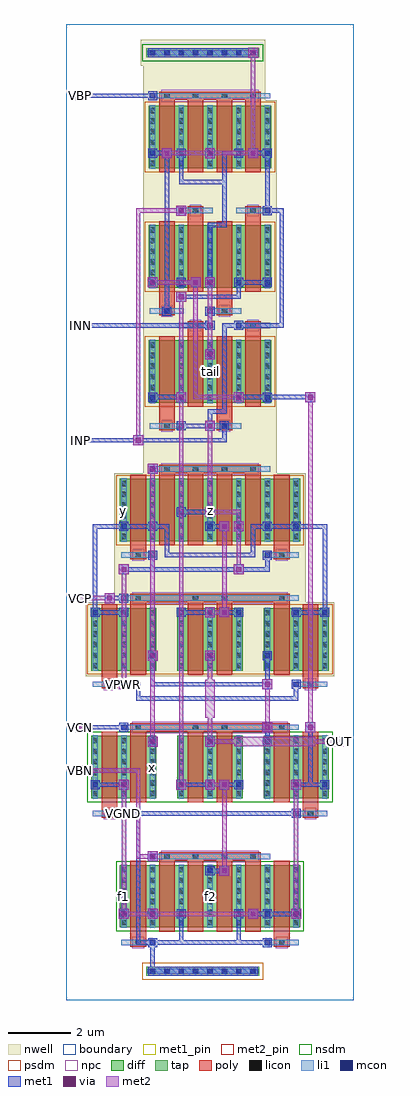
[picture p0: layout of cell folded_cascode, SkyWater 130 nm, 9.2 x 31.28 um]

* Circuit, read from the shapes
.subckt folded_cascode INN INP OUT VBN VBP VCN VCP VGND VPWR f1 f2 tail x y z
XM1 f1 VGND f1 VGND sky130_fd_pr__nfet_01v8 w=2 l=0.5 m=4
XM2 x VCN f1 VGND sky130_fd_pr__nfet_01v8 w=2 l=0.5 m=2
XM3 VGND VBN f1 VGND sky130_fd_pr__nfet_01v8 w=2 l=0.5 m=2
XM4 f2 VBN VGND VGND sky130_fd_pr__nfet_01v8 w=2 l=0.5 m=2
XM5 OUT VCN f2 VGND sky130_fd_pr__nfet_01v8 w=2 l=0.5 m=2
XM6 y VPWR y VPWR sky130_fd_pr__pfet_01v8 w=2 l=0.5 m=4
XM7 x VCP y VPWR sky130_fd_pr__pfet_01v8 w=2 l=0.5 m=2
XM8 VPWR x y VPWR sky130_fd_pr__pfet_01v8 w=2 l=0.5 m=2
XM9 f2 VPWR f2 VPWR sky130_fd_pr__pfet_01v8 w=2 l=0.5 m=2
XM10 f1 VPWR f1 VPWR sky130_fd_pr__pfet_01v8 w=2 l=0.5 m=2
XM11 tail VBP VPWR VPWR sky130_fd_pr__pfet_01v8 w=2 l=0.5 m=4
XM12 OUT VCP z VPWR sky130_fd_pr__pfet_01v8 w=2 l=0.5 m=2
XM13 z x VPWR VPWR sky130_fd_pr__pfet_01v8 w=2 l=0.5 m=2
XM14 tail INN f2 VPWR sky130_fd_pr__pfet_01v8 w=2 l=0.5 m=2
XM15 tail INP f1 VPWR sky130_fd_pr__pfet_01v8 w=2 l=0.5 m=2
.ends

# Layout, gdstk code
import gdstk
lib = gdstk.Library(unit=1e-6, precision=1e-09)
def R(c, l, rs):  # rectangles x0, y0, x1, y1
    for r in rs: c.add(gdstk.rectangle(r[:2], r[2:], *l))
def A(c, l, x, y, w, h, nx, ny, dx, dy):  # array of equal rectangles
    R(c, l, [(x+i*dx, y+j*dy, x+i*dx+w, y+j*dy+h) for i in range(nx) for j in range(ny)])
nwell = (64, 20)
diff = (65, 20)
tap = (65, 44)
poly = (66, 20)
licon = (66, 44)
li1 = (67, 20)
mcon = (67, 44)
met1_pin = (68, 16)
met1 = (68, 20)
via = (68, 44)
met2_pin = (69, 16)
met2 = (69, 20)
nsdm = (93, 44)
psdm = (94, 20)
npc = (95, 20)
boundary = (235, 4)

folded_cascode = lib.new_cell('folded_cascode')
R(folded_cascode, nwell, [(0.615,10.38,8.585,12.74), (1.535,12.74,7.665,16.88), (2.455,16.88,6.745,28.84), (2.455,28.84,6.365,29.94), (2.375,29.94,6.365,30.78)])
A(folded_cascode, diff, 0.795, 6.465, 2.09, 2, 3, 2, 2.76, 4.095)
R(folded_cascode, diff, [(1.715,2.325,7.485,4.325), (1.715,14.7,7.485,16.7), (2.635,19.145,6.565,21.145), (2.635,22.825,6.565,24.825), (2.635,26.66,6.565,28.66)])
R(folded_cascode, tap, [(2.555,0.775,6.185,1.065), (2.555,30.215,6.185,30.505)])
A(folded_cascode, poly, 2.97, 2.195, 0.5, 2.405, 4, 1, 0.92, 0)
A(folded_cascode, poly, 2.97, 14.57, 0.5, 2.45, 4, 2, 0.92, 11.96)
R(folded_cascode, poly, [(2.05,1.705,2.55,1.975), (6.65,1.705,7.15,1.975), (2.05,1.84,2.55,4.455), (6.65,1.84,7.15,4.455), (2.97,4.465,6.23,4.735), (1.13,5.845,1.63,6.115), (7.57,5.845,8.07,6.115), (1.13,5.98,1.63,8.595), (7.57,5.98,8.07,8.595), (2.05,6.335,2.55,8.74), (3.89,6.335,4.39,8.74), (4.81,6.335,5.31,8.74), (6.65,6.335,7.15,8.74), (2.05,8.605,7.15,8.875), (1.13,9.985,1.63,10.255), (7.57,9.985,8.07,10.255), (1.13,10.12,1.63,12.69), (7.57,10.12,8.07,12.69), (2.05,10.43,2.55,12.88), (3.89,10.43,4.39,12.88), (4.81,10.43,5.31,12.88), (6.65,10.43,7.15,12.88), (2.05,12.745,7.15,13.015), (2.05,14.125,2.55,14.395), (6.65,14.125,7.15,14.395), (2.05,14.26,2.55,16.83), (6.65,14.26,7.15,16.83), (2.97,16.885,6.23,17.155), (2.97,18.265,3.47,18.535), (4.81,18.265,5.31,18.535), (2.97,18.4,3.47,21.275), (4.81,18.4,5.31,21.275), (3.89,19.015,4.39,21.62), (5.73,19.015,6.23,21.62), (3.89,21.485,4.39,21.755), (5.73,21.485,6.23,21.755), (2.97,21.945,3.47,22.215), (4.81,21.945,5.31,22.215), (2.97,22.08,3.47,24.955), (4.81,22.08,5.31,24.955), (3.89,22.695,4.39,25.3), (5.73,22.695,6.23,25.3), (3.89,25.165,4.39,25.435), (5.73,25.165,6.23,25.435), (2.97,28.845,6.23,29.115)])
A(folded_cascode, licon, 2.675, 0.835, 0.17, 0.17, 8, 2, 0.46, 29.44)
A(folded_cascode, licon, 1.755, 2.39, 0.17, 0.17, 7, 6, 0.92, 0.34)
A(folded_cascode, licon, 3.135, 4.515, 0.17, 0.17, 4, 2, 0.92, 12.42)
A(folded_cascode, licon, 0.835, 6.53, 0.17, 0.17, 9, 6, 0.92, 0.34)
A(folded_cascode, licon, 0.835, 10.625, 0.17, 0.17, 9, 6, 0.92, 0.34)
A(folded_cascode, licon, 1.755, 14.765, 0.17, 0.17, 7, 6, 0.92, 0.34)
A(folded_cascode, licon, 2.675, 19.21, 0.17, 0.17, 5, 6, 0.92, 0.34)
A(folded_cascode, licon, 2.675, 22.89, 0.17, 0.17, 5, 6, 0.92, 0.34)
A(folded_cascode, licon, 2.675, 26.725, 0.17, 0.17, 5, 6, 0.92, 0.34)
A(folded_cascode, licon, 3.135, 28.895, 0.17, 0.17, 4, 1, 0.92, 0)
R(folded_cascode, licon, [(2.215,1.755,2.385,1.925), (6.815,1.755,6.985,1.925), (1.295,5.895,1.465,6.065), (7.735,5.895,7.905,6.065), (2.215,8.655,2.385,8.825), (4.055,8.655,4.225,8.825), (4.975,8.655,5.145,8.825), (6.815,8.655,6.985,8.825), (1.295,10.035,1.465,10.205), (7.735,10.035,7.905,10.205), (2.215,12.795,2.385,12.965), (4.055,12.795,4.225,12.965), (4.975,12.795,5.145,12.965), (6.815,12.795,6.985,12.965), (2.215,14.175,2.385,14.345), (6.815,14.175,6.985,14.345), (3.135,18.315,3.305,18.485), (4.975,18.315,5.145,18.485), (4.055,21.535,4.225,21.705), (5.895,21.535,6.065,21.705), (3.135,21.995,3.305,22.165), (4.975,21.995,5.145,22.165), (4.055,25.215,4.225,25.385), (5.895,25.215,6.065,25.385)])
A(folded_cascode, li1, 1.755, 2.31, 0.17, 2.03, 7, 2, 0.92, 12.375)
A(folded_cascode, li1, 0.835, 6.45, 0.17, 2.03, 9, 2, 0.92, 4.095)
A(folded_cascode, li1, 2.675, 19.13, 0.17, 2.03, 5, 2, 0.92, 3.68)
A(folded_cascode, li1, 2.675, 26.645, 0.17, 2.03, 5, 1, 0.92, 0)
R(folded_cascode, li1, [(2.595,0.835,6.145,1.005), (1.755,1.755,2.845,1.925), (6.355,1.755,7.445,1.925), (2.675,4.515,6.525,4.685), (0.835,5.895,1.925,6.065), (7.275,5.895,8.365,6.065), (1.755,8.655,7.445,8.825), (0.835,10.035,1.925,10.205), (7.275,10.035,8.365,10.205), (1.755,12.795,7.445,12.965), (1.755,14.175,2.845,14.345), (6.355,14.175,7.445,14.345), (2.675,16.935,6.525,17.105), (2.675,18.315,3.765,18.485), (4.515,18.315,5.605,18.485), (3.595,21.535,4.685,21.705), (5.435,21.535,6.525,21.705), (2.675,21.995,3.765,22.165), (4.515,21.995,5.605,22.165), (3.595,25.215,4.685,25.385), (5.435,25.215,6.525,25.385), (2.675,28.895,6.525,29.065), (2.595,30.275,6.145,30.445)])
A(folded_cascode, mcon, 2.675, 0.835, 0.17, 0.17, 8, 2, 0.46, 29.44)
A(folded_cascode, mcon, 1.755, 2.675, 0.17, 0.17, 3, 1, 0.92, 0)
A(folded_cascode, mcon, 5.435, 2.675, 0.17, 0.17, 3, 1, 0.92, 0)
A(folded_cascode, mcon, 1.755, 6.815, 0.17, 0.17, 4, 2, 1.84, 5.52)
A(folded_cascode, mcon, 2.675, 8.195, 0.17, 0.17, 3, 2, 1.84, 2.76)
A(folded_cascode, mcon, 4.515, 15.095, 0.17, 0.17, 4, 1, 0.92, 0)
A(folded_cascode, mcon, 2.675, 22.915, 0.17, 0.17, 5, 2, 0.92, 4.14)
R(folded_cascode, mcon, [(2.675,1.755,2.845,1.925), (6.355,1.755,6.525,1.925), (4.515,4.055,4.685,4.225), (2.675,4.515,2.845,4.685), (1.755,5.895,1.925,6.065), (7.275,5.895,7.445,6.065), (0.835,6.815,1.005,6.985), (8.195,6.815,8.365,6.985), (1.755,8.655,1.925,8.825), (1.755,10.035,1.925,10.205), (7.275,10.035,7.445,10.205), (0.835,12.335,1.005,12.505), (8.195,12.335,8.365,12.505), (1.755,12.795,1.925,12.965), (2.675,14.175,2.845,14.345), (6.355,14.175,6.525,14.345), (1.755,15.095,1.925,15.265), (2.675,15.095,2.845,15.265), (3.595,15.555,3.765,15.725), (2.675,16.935,2.845,17.105), (3.595,18.315,3.765,18.485), (4.975,18.315,5.145,18.485), (2.675,19.235,2.845,19.405), (3.595,19.235,3.765,19.405), (5.435,19.235,5.605,19.405), (6.355,19.235,6.525,19.405), (4.515,20.615,4.685,20.785), (4.515,21.535,4.685,21.705), (5.435,21.535,5.605,21.705), (3.135,21.995,3.305,22.165), (4.515,21.995,4.685,22.165), (3.595,25.215,3.765,25.385), (6.355,25.215,6.525,25.385), (2.675,28.895,2.845,29.065)])
R(folded_cascode, met1_pin, [(1.695,5.835,1.985,6.125), (1.695,9.975,1.985,10.265)])
A(folded_cascode, met1, 1.695, 2.615, 0.29, 0.29, 3, 1, 0.92, 0)
A(folded_cascode, met1, 5.375, 2.615, 0.29, 0.29, 3, 1, 0.92, 0)
A(folded_cascode, met1, 1.695, 6.755, 0.29, 0.29, 4, 2, 1.84, 5.52)
A(folded_cascode, met1, 2.615, 8.135, 0.29, 0.29, 3, 2, 1.84, 2.76)
A(folded_cascode, met1, 2.6, 10.88, 0.32, 0.32, 1, 3, 0, 5.98)
A(folded_cascode, met1, 4.455, 15.035, 0.29, 0.29, 4, 1, 0.92, 0)
A(folded_cascode, met1, 4.44, 18.24, 0.32, 0.32, 1, 3, 0, 2.3)
A(folded_cascode, met1, 2.615, 22.855, 0.29, 0.29, 5, 2, 0.92, 4.14)
A(folded_cascode, met1, 3.06, 26.98, 0.32, 0.32, 3, 1, 1.38, 0)
R(folded_cascode, met1, [(2.615,0.775,6.125,1.065), (2.69,0.85,2.83,0.99), (2.69,0.85,2.83,1.91), (2.615,1.695,2.905,1.985), (6.295,1.695,6.585,1.985), (2.23,1.77,2.83,1.91), (2.23,1.77,2.37,6.05), (2.69,1.77,3.75,1.91), (3.61,1.77,6.51,1.91), (3.61,1.77,3.75,2.83), (5.45,1.77,5.59,2.83), (1.68,2.6,2,2.92), (2.6,2.6,2.92,2.92), (5.82,2.6,6.14,2.92), (7.2,2.6,7.52,2.92), (5.91,2.69,6.51,2.83), (6.37,2.69,7.43,2.83), (4.9,3.98,5.22,4.3), (4.455,3.995,4.745,4.285), (4.53,4.07,5.13,4.21), (2.6,4.44,2.92,4.76), (2.615,4.455,2.905,4.745), (1.695,5.835,1.985,6.125), (7.215,5.835,7.505,6.125), (1.77,5.91,2.37,6.05), (2.23,5.91,7.43,6.05), (1.68,6.74,2,7.06), (3.52,6.74,3.84,7.06), (4.44,6.74,4.76,7.06), (4.9,6.74,5.22,7.06), (7.2,6.74,7.52,7.06), (0.775,6.755,1.065,7.045), (8.135,6.755,8.425,7.045), (0.85,6.83,1.91,6.97), (3.61,6.83,4.67,6.97), (4.99,6.83,5.59,6.97), (7.29,6.83,8.35,6.97), (7.75,6.83,7.89,8.81), (2.6,8.12,2.92,8.44), (4.44,8.12,4.76,8.44), (6.37,8.21,6.51,8.81), (0.3,8.58,0.62,8.9), (6.28,8.58,6.6,8.9), (7.66,8.58,7.98,8.9), (1.695,8.595,1.985,8.885), (0.39,8.67,1.91,8.81), (2.23,9.59,7.43,9.73), (2.23,9.59,2.37,10.19), (7.29,9.59,7.43,10.19), (1.68,9.96,2,10.28), (6.28,9.96,6.6,10.28), (1.695,9.975,1.985,10.265), (7.215,9.975,7.505,10.265), (1.77,10.05,2.37,10.19), (2.69,10.05,6.51,10.19), (2.69,10.05,2.83,11.11), (6.37,10.05,6.51,11.11), (4.44,10.88,4.76,11.2), (4.44,12.26,4.76,12.58), (4.9,12.26,5.22,12.58), (0.775,12.275,1.065,12.565), (8.135,12.275,8.425,12.565), (0.85,12.35,1.91,12.49), (0.85,12.35,0.99,15.25), (3.61,12.35,4.67,12.49), (4.99,12.35,5.59,12.49), (7.29,12.35,8.35,12.49), (8.21,12.35,8.35,15.25), (1.22,12.72,1.54,13.04), (1.695,12.735,1.985,13.025), (1.31,12.81,1.91,12.95), (1.68,13.64,2,13.96), (5.36,13.64,5.68,13.96), (1.77,13.73,2.83,13.87), (2.69,13.73,6.51,13.87), (2.69,13.73,2.83,14.33), (6.37,13.73,6.51,14.33), (2.615,14.115,2.905,14.405), (6.295,14.115,6.585,14.405), (3.15,14.19,6.05,14.33), (3.15,14.19,3.29,15.25), (5.91,14.19,6.05,15.25), (4.9,15.02,5.22,15.34), (5.36,15.02,5.68,15.34), (1.695,15.035,1.985,15.325), (2.615,15.035,2.905,15.325), (0.85,15.11,1.91,15.25), (1.77,15.11,2.83,15.25), (2.69,15.11,3.29,15.25), (4.53,15.11,5.13,15.25), (5.91,15.11,6.51,15.25), (6.37,15.11,7.43,15.25), (7.29,15.11,8.35,15.25), (4.44,15.48,4.76,15.8), (3.535,15.495,3.825,15.785), (3.61,15.57,4.67,15.71), (2.615,16.875,2.905,17.165), (0.3,17.78,0.62,18.1), (2.14,17.78,2.46,18.1), (0.39,17.87,5.13,18.01), (4.99,17.87,5.13,18.47), (3.535,18.255,3.825,18.545), (4.915,18.255,5.205,18.545), (3.61,18.33,4.67,18.47), (4.53,18.33,4.67,18.93), (4.53,18.79,5.13,18.93), (4.99,18.79,5.13,21.69), (3.52,19.16,3.84,19.48), (5.36,19.16,5.68,19.48), (7.66,19.16,7.98,19.48), (2.615,19.175,2.905,19.465), (3.535,19.175,3.825,19.465), (5.375,19.175,5.665,19.465), (6.295,19.175,6.585,19.465), (2.69,19.25,3.75,19.39), (5.45,19.25,6.51,19.39), (6.37,19.25,7.89,19.39), (4.455,20.555,4.745,20.845), (0.3,21.46,0.62,21.78), (4.455,21.475,4.745,21.765), (5.375,21.475,5.665,21.765), (0.39,21.55,4.67,21.69), (4.53,21.55,4.67,22.15), (4.99,21.55,5.59,21.69), (5.45,21.55,6.97,21.69), (6.83,21.55,6.97,25.37), (3.075,21.935,3.365,22.225), (4.455,21.935,4.745,22.225), (3.15,22.01,3.29,27.21), (3.52,22.38,3.84,22.7), (3.61,22.47,5.59,22.61), (5.45,22.47,5.59,23.07), (3.98,22.84,4.3,23.16), (3.61,22.93,4.21,23.07), (4.53,22.93,4.67,24.91), (5.45,22.93,6.51,23.07), (4.53,24.77,5.13,24.91), (4.99,24.77,5.13,27.21), (3.52,25.14,3.84,25.46), (3.535,25.155,3.825,25.445), (6.295,25.155,6.585,25.445), (6.37,25.23,6.97,25.37), (6.37,25.23,6.51,27.21), (3.61,26.15,5.13,26.29), (3.61,26.15,3.75,27.21), (2.69,27.07,3.29,27.21), (4.99,27.07,5.59,27.21), (5.91,27.07,6.51,27.21), (0.3,28.82,0.62,29.14), (2.615,28.835,2.905,29.125), (0.39,28.91,2.83,29.05), (5.82,30.2,6.14,30.52), (2.615,30.215,6.125,30.505), (5.91,30.29,6.05,30.43)])
A(folded_cascode, via, 2.685, 10.965, 0.15, 0.15, 1, 3, 0, 5.98)
A(folded_cascode, via, 4.525, 18.325, 0.15, 0.15, 1, 3, 0, 2.3)
A(folded_cascode, via, 3.145, 27.065, 0.15, 0.15, 3, 1, 1.38, 0)
R(folded_cascode, via, [(1.765,2.685,1.915,2.835), (2.685,2.685,2.835,2.835), (5.905,2.685,6.055,2.835), (7.285,2.685,7.435,2.835), (4.985,4.065,5.135,4.215), (2.685,4.525,2.835,4.675), (1.765,6.825,1.915,6.975), (3.605,6.825,3.755,6.975), (4.525,6.825,4.675,6.975), (4.985,6.825,5.135,6.975), (7.285,6.825,7.435,6.975), (2.685,8.205,2.835,8.355), (4.525,8.205,4.675,8.355), (0.385,8.665,0.535,8.815), (6.365,8.665,6.515,8.815), (7.745,8.665,7.895,8.815), (1.765,10.045,1.915,10.195), (6.365,10.045,6.515,10.195), (4.525,10.965,4.675,11.115), (4.525,12.345,4.675,12.495), (4.985,12.345,5.135,12.495), (1.305,12.805,1.455,12.955), (1.765,13.725,1.915,13.875), (5.445,13.725,5.595,13.875), (4.985,15.105,5.135,15.255), (5.445,15.105,5.595,15.255), (4.525,15.565,4.675,15.715), (0.385,17.865,0.535,18.015), (2.225,17.865,2.375,18.015), (3.605,19.245,3.755,19.395), (5.445,19.245,5.595,19.395), (7.745,19.245,7.895,19.395), (0.385,21.545,0.535,21.695), (3.605,22.465,3.755,22.615), (4.065,22.925,4.215,23.075), (3.605,25.225,3.755,25.375), (0.385,28.905,0.535,29.055), (5.905,30.285,6.055,30.435)])
R(folded_cascode, met2_pin, [(0.31,7.21,0.61,7.51), (8.59,8.13,8.89,8.43), (0.31,8.59,0.61,8.89), (0.31,12.73,0.61,13.03), (0.31,17.79,0.61,18.09), (0.31,21.47,0.61,21.77), (0.31,28.83,0.61,29.13)])
A(folded_cascode, met2, 2.6, 10.88, 0.32, 0.32, 1, 3, 0, 5.98)
A(folded_cascode, met2, 4.44, 18.24, 0.32, 0.32, 1, 3, 0, 2.3)
A(folded_cascode, met2, 3.06, 26.98, 0.32, 0.32, 3, 1, 1.38, 0)
R(folded_cascode, met2, [(1.68,2.6,2,2.92), (2.6,2.6,2.92,2.92), (5.82,2.6,6.14,2.92), (7.2,2.6,7.52,2.92), (1.77,2.69,2.83,2.83), (1.77,2.69,1.91,6.97), (2.69,2.69,6.05,2.83), (7.29,2.69,7.43,6.97), (4.9,3.98,5.22,4.3), (4.99,4.07,5.13,6.97), (2.6,4.44,2.92,4.76), (2.23,4.53,2.37,7.43), (2.23,4.53,2.83,4.67), (1.68,6.74,2,7.06), (3.52,6.74,3.84,7.06), (4.44,6.74,4.76,7.06), (4.9,6.74,5.22,7.06), (7.2,6.74,7.52,7.06), (3.61,6.83,3.75,19.39), (4.53,6.83,5.13,6.97), (0.31,7.21,0.61,7.51), (0.39,7.29,0.53,7.43), (0.39,7.29,2.37,7.43), (2.6,8.12,2.92,8.44), (4.44,8.12,4.76,8.44), (5.37,8.13,7.97,8.43), (8.59,8.13,8.89,8.43), (2.69,8.21,2.83,11.11), (4.53,8.21,4.67,9.27), (4.53,8.21,5.59,8.35), (7.75,8.21,8.81,8.35), (8.67,8.21,8.81,8.35), (0.3,8.58,0.62,8.9), (6.28,8.58,6.6,8.9), (7.66,8.58,7.98,8.9), (0.31,8.59,0.61,8.89), (0.39,8.67,0.53,8.81), (6.37,8.67,6.51,10.19), (7.75,8.67,7.89,19.39), (4.45,9.05,4.75,10.27), (1.68,9.96,2,10.28), (6.28,9.96,6.6,10.28), (1.77,10.05,1.91,13.87), (4.53,10.05,4.67,11.11), (4.44,10.88,4.76,11.2), (2.69,10.97,2.83,17.09), (4.44,12.26,4.76,12.58), (4.9,12.26,5.22,12.58), (4.53,12.35,5.13,12.49), (4.99,12.35,5.13,15.25), (1.22,12.72,1.54,13.04), (0.31,12.73,0.61,13.03), (0.39,12.81,0.53,12.95), (0.39,12.81,1.45,12.95), (1.68,13.64,2,13.96), (5.36,13.64,5.68,13.96), (5.45,13.73,5.59,15.25), (4.9,15.02,5.22,15.34), (5.36,15.02,5.68,15.34), (5.45,15.11,5.59,15.71), (4.44,15.48,4.76,15.8), (4.53,15.57,5.59,15.71), (4.53,15.57,4.67,18.47), (0.3,17.78,0.62,18.1), (2.14,17.78,2.46,18.1), (0.31,17.79,0.61,18.09), (0.39,17.87,0.53,18.01), (2.23,17.87,2.37,25.37), (3.52,19.16,3.84,19.48), (5.36,19.16,5.68,19.48), (7.66,19.16,7.98,19.48), (3.61,19.25,3.75,22.61), (4.07,19.25,5.59,19.39), (4.07,19.25,4.21,23.07), (4.53,20.63,4.67,23.07), (0.3,21.46,0.62,21.78), (0.31,21.47,0.61,21.77), (0.39,21.55,0.53,21.69), (3.52,22.38,3.84,22.7), (3.98,22.84,4.3,23.16), (2.69,22.93,4.21,23.07), (3.52,25.14,3.84,25.46), (2.23,25.23,3.75,25.37), (3.15,27.07,4.67,27.21), (4.53,27.07,6.05,27.21), (5.91,27.07,6.05,30.43), (0.3,28.82,0.62,29.14), (0.31,28.83,0.61,29.13), (0.39,28.91,0.53,29.05), (5.82,30.2,6.14,30.52)])
R(folded_cascode, nsdm, [(1.59,2.2,7.61,4.45), (0.67,6.34,8.53,8.59), (2.43,30.09,6.31,30.63)])
R(folded_cascode, psdm, [(2.43,0.65,6.31,1.19), (0.67,10.435,8.53,12.685), (1.59,14.575,7.61,16.825), (2.51,19.02,6.69,21.27), (2.51,22.7,6.69,24.95), (2.51,26.535,6.69,28.785)])
R(folded_cascode, npc, [(2.115,1.655,2.485,2.025), (6.715,1.655,7.085,2.025), (3.035,4.415,6.165,4.785), (1.195,5.795,1.565,6.165), (7.635,5.795,8.005,6.165), (2.115,8.555,7.085,8.925), (1.195,9.935,1.565,10.305), (7.635,9.935,8.005,10.305), (2.115,12.695,7.085,13.065), (2.115,14.075,2.485,14.445), (6.715,14.075,7.085,14.445), (3.035,16.835,6.165,17.205), (3.035,18.215,3.405,18.585), (4.875,18.215,5.245,18.585), (3.955,21.435,4.325,21.805), (5.795,21.435,6.165,21.805), (3.035,21.895,3.405,22.265), (4.875,21.895,5.245,22.265), (3.955,25.115,4.325,25.485), (5.795,25.115,6.165,25.485), (3.035,28.795,6.165,29.165)])
R(folded_cascode, boundary, [(0,0,9.2,31.28)])
folded_cascode.add(gdstk.Label('f1', (1.84,3.325), layer=67, texttype=5))
folded_cascode.add(gdstk.Label('f2', (4.6,3.325), layer=67, texttype=5))
folded_cascode.add(gdstk.Label('x', (2.76,7.465), layer=67, texttype=5))
folded_cascode.add(gdstk.Label('y', (1.84,15.7), layer=67, texttype=5))
folded_cascode.add(gdstk.Label('z', (4.6,15.7), layer=67, texttype=5))
folded_cascode.add(gdstk.Label('tail', (4.6,20.145), layer=67, texttype=5))
folded_cascode.add(gdstk.Label('VPWR', (1.84,10.12), layer=68, texttype=5))
folded_cascode.add(gdstk.Label('VGND', (1.84,5.98), layer=68, texttype=5))
folded_cascode.add(gdstk.Label('INP', (0.46,17.94), layer=69, texttype=5))
folded_cascode.add(gdstk.Label('INN', (0.46,21.62), layer=69, texttype=5))
folded_cascode.add(gdstk.Label('VBP', (0.46,28.98), layer=69, texttype=5))
folded_cascode.add(gdstk.Label('VBN', (0.46,7.36), layer=69, texttype=5))
folded_cascode.add(gdstk.Label('VCN', (0.46,8.74), layer=69, texttype=5))
folded_cascode.add(gdstk.Label('VCP', (0.46,12.88), layer=69, texttype=5))
folded_cascode.add(gdstk.Label('OUT', (8.74,8.28), layer=69, texttype=5))
folded_cascode.add(gdstk.Label('VPWR', (1.84,10.12), layer=68, texttype=16))
folded_cascode.add(gdstk.Label('VGND', (1.84,5.98), layer=68, texttype=16))
folded_cascode.add(gdstk.Label('INP', (0.46,17.94), layer=69, texttype=16))
folded_cascode.add(gdstk.Label('INN', (0.46,21.62), layer=69, texttype=16))
folded_cascode.add(gdstk.Label('VBP', (0.46,28.98), layer=69, texttype=16))
folded_cascode.add(gdstk.Label('VBN', (0.46,7.36), layer=69, texttype=16))
folded_cascode.add(gdstk.Label('VCN', (0.46,8.74), layer=69, texttype=16))
folded_cascode.add(gdstk.Label('VCP', (0.46,12.88), layer=69, texttype=16))
folded_cascode.add(gdstk.Label('OUT', (8.74,8.28), layer=69, texttype=16))

lib.write_gds('folded_cascode.gds')
